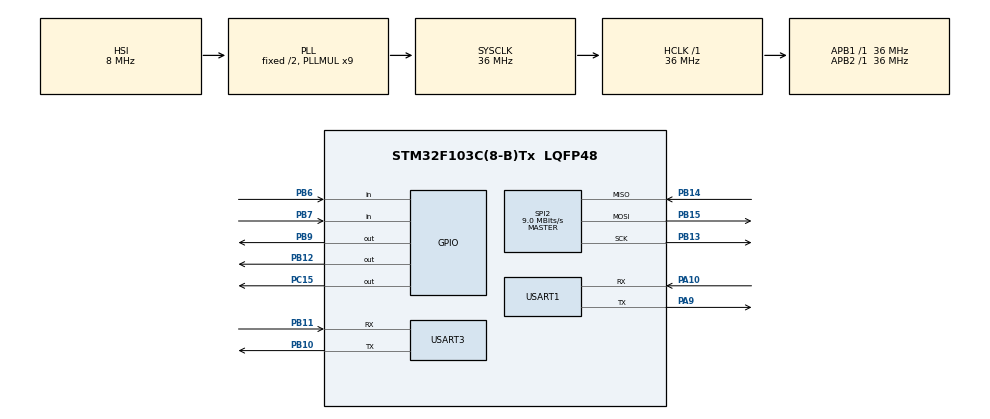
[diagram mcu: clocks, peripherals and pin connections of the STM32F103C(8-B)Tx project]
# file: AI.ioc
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Mcu.Family=STM32F1
Mcu.Name=STM32F103C(8-B)Tx
Mcu.Package=LQFP48
NVIC.PriorityGroup=NVIC_PRIORITYGROUP_4
NVIC.RCC_IRQn=true\:0\:0\:false\:false\:true\:true\:false\:true
NVIC.USART1_IRQn=true\:0\:0\:false\:false\:true\:true\:true\:true
NVIC.USART3_IRQn=true\:0\:0\:false\:false\:true\:true\:true\:true
PA10.Mode=Asynchronous
PA10.Signal=USART1_RX
PA13.Mode=Serial_Wire
PA13.Signal=SYS_JTMS-SWDIO
PA14.Mode=Serial_Wire
PA14.Signal=SYS_JTCK-SWCLK
PA9.Mode=Asynchronous
PA9.Signal=USART1_TX
PB10.Mode=Asynchronous
PB10.Signal=USART3_TX
PB11.Mode=Asynchronous
PB11.Signal=USART3_RX
PB12.Signal=GPIO_Output
PB13.Mode=Full_Duplex_Master
PB13.Signal=SPI2_SCK
PB14.Mode=Full_Duplex_Master
PB14.Signal=SPI2_MISO
PB15.Mode=Full_Duplex_Master
PB15.Signal=SPI2_MOSI
PB6.Signal=GPIO_Input
PB7.Signal=GPIO_Input
PB9.Signal=GPIO_Output
PC15-OSC32_OUT.Signal=GPIO_Output
PD0-OSC_IN.Mode=HSE-External-Oscillator
PD0-OSC_IN.Signal=RCC_OSC_IN
PD1-OSC_OUT.Mode=HSE-External-Oscillator
PD1-OSC_OUT.Signal=RCC_OSC_OUT
ProjectManager.HeapSize=0x200
ProjectManager.StackSize=0x400
ProjectManager.TargetToolchain=STM32CubeIDE
RCC.AHBFreq_Value=36000000
RCC.APB1Freq_Value=36000000
RCC.APB1TimFreq_Value=36000000
RCC.APB2Freq_Value=36000000
RCC.APB2TimFreq_Value=36000000
RCC.HCLKFreq_Value=36000000
RCC.PLLMUL=RCC_PLL_MUL9
RCC.SYSCLKFreq_VALUE=36000000
RCC.SYSCLKSource=RCC_SYSCLKSOURCE_PLLCLK
RCC.USBFreq_Value=36000000
SPI2.BaudRatePrescaler=SPI_BAUDRATEPRESCALER_4
SPI2.CalculateBaudRate=9.0 MBits/s
SPI2.Direction=SPI_DIRECTION_2LINES
SPI2.Mode=SPI_MODE_MASTER
SPI2.VirtualType=VM_MASTER
USART1.VirtualMode=VM_ASYNC
USART3.VirtualMode=VM_ASYNC
board=custom

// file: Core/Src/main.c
/* USER CODE BEGIN Header */
/**
  ******************************************************************************
  * @file           : main.c
  * @brief          : Main program body
  ******************************************************************************
  * @attention
  *
  * Copyright (c) 2025 STMicroelectronics.
  * All rights reserved.
  *
  * This software is licensed under terms that can be found in the LICENSE file
  * in the root directory of this software component.
  * If no LICENSE file comes with this software, it is provided AS-IS.
  *
  ******************************************************************************
  */
/* USER CODE END Header */
#include "main.h"
#include "ADS1247.h"
#include "modbus485.h"
#include"string.h"
#include "dipswitch.h"
#include <stdbool.h>
#include<HC595.h>
#include<storage.h>
/* USER CODE BEGIN Includes */

uint8_t RxData[UART_RX_BUF_SIZE];
uint8_t *ptr;
uint8_t slave_id=0x01;
uint32_t selectedBaudRate=9600;
uint8_t uart_rx_byte;
static uint16_t rxcount=0;
uint8_t adc_conversion_mode[8]={4,4,4,4,4,4,4,4};//8 channal with default value
static int cmd_cnt=0;

uint8_t data[UART_RX_BUF_SIZE];
uint32_t indx=0;
uint16_t crc;
eMode_t conversion_mode,conversion_mode1=0;

float supply[8];

const MapEntry configMap[] = {
	{0,MV0_50},
    {1, MV0_100},
	{2, MV0_250},
    {3, V0_5},
    {4, V0_10},
    {5,MA4_20},
	{6,MA0_20},
};

int32_t Holding_Registers_Database[100]={0};
RingBuffer_t uart_rx_rb = { .head = 0, .tail = 0 };

flash_t W_flash={.channalmode={4,4,4,4,4,4,4,4},
		.BaudRate=9600,
		.SlaveID=0x01,
};

flash_t R_flash={.channalmode={4,4,4,4,4,4,4,4},
		.BaudRate=9600,
		.SlaveID=0x01,
};

/* USER CODE END Includes */

SPI_HandleTypeDef hspi2;

UART_HandleTypeDef huart1;
UART_HandleTypeDef huart3;

void SystemClock_Config(void);
static void MX_GPIO_Init(void);
static void MX_SPI2_Init(void);
static void MX_USART1_UART_Init(void);
static void MX_USART3_UART_Init(void);
/* USER CODE BEGIN PFP */
void PollUartBaudRate(void)
{
	uint8_t gpioVal = (HAL_GPIO_ReadPin(GPIOB, GPIO_PIN_6) << 1) |
	HAL_GPIO_ReadPin(GPIOB, GPIO_PIN_7);
	static uint32_t prevBaudRate=115200;

	switch (gpioVal)
	{
		case BAUD_9600: selectedBaudRate = 9600; break;
		case BAUD_19200: selectedBaudRate = 19200; break;
		case BAUD_38400: selectedBaudRate = 38400; break;
		default: selectedBaudRate = 9600; break;
	}

	// Change baud only if different from previous
	if (selectedBaudRate != prevBaudRate)
	{
		prevBaudRate = selectedBaudRate;

		/* -------- UART3 -------- */
		HAL_UART_AbortReceive(&huart3);
		HAL_Delay(2);
		HAL_UART_DeInit(&huart3);
		huart3.Init.BaudRate = selectedBaudRate;
		HAL_UART_Init(&huart3);
		HAL_UART_Receive_IT(&huart3, &uart_rx_byte, 1);

		/* -------- UART1 -------- */
		HAL_UART_AbortReceive(&huart1);
		HAL_Delay(2);
		HAL_UART_DeInit(&huart1);
		huart1.Init.BaudRate = selectedBaudRate;
		HAL_UART_Init(&huart1);
		//HAL_UART_Receive_IT(&huart1, RxData2, sizeof(RxData2));

	}
}

/* USER CODE END PFP */

eMode_t check_and_get_adc_conversion_mode(uint8_t *conversion_mode,P_AIN channal){

	for(int i=0;i<sizeof(configMap)/sizeof(MapEntry);i++){
				if(configMap[i].regValue==conversion_mode[channal])
					return configMap[i].config;// set channal on the basis of conversion_mode value

		}
		return configMap[channal].config;//default setting if conversion_mode is mismatch with regValue
}

void HAL_UART_RxCpltCallback(UART_HandleTypeDef *huart)
{
    uint16_t next = (uart_rx_rb.head + 1) % UART_RX_BUF_SIZE;

    if (next != uart_rx_rb.tail) {   // buffer not full
        uart_rx_rb.buffer[uart_rx_rb.head] = uart_rx_byte;
        uart_rx_rb.head = next;
    }

    // Restart interrupt
    HAL_UART_Receive_IT(huart, &uart_rx_byte, 1);
}

uint16_t RingBuffer_GetCount(RingBuffer_t *rb)
{
    if (rb->head >= rb->tail)
        return rb->head - rb->tail;
    else
        return UART_RX_BUF_SIZE - rb->tail + rb->head;
}

int RingBuffer_Read(RingBuffer_t* rb, uint8_t* out)
{
    if (rb->head == rb->tail) return 0;

    *out = rb->buffer[rb->tail];
    rb->tail = (rb->tail + 1) % UART_RX_BUF_SIZE;
    return 1;
}
uint8_t reglen;
uint8_t tx_[MIN_CMD_LEN];
static uint16_t len = 0;
bool read_multi_reg(){

	    // Minimum required bytes
	    if(len < MIN_CMD_LEN)
	        return false;

	    // Extract CRC from last two bytes
	    uint16_t crc_recv = (RxData[len-1]<<8)|RxData[len-2];
	    uint16_t crc_calc = crc16(RxData, len - 2);
	    reglen=len;
	    // Validate Modbus frame
	    if(RxData[0] != slave_id)    return false;
	    if(RxData[1] != MB_WRITE_FC) return false;
	    if(crc_recv != crc_calc)     return false;

	    uint8_t byte_count = RxData[6];

	    if(len < (7 + byte_count + 2))
	        return false;  // incomplete frame

	    memset(tx_,0,sizeof(tx_));
		for(uint8_t i=0;i<len-2;i++){
			tx_[i]=RxData[i];
		}

		sendData(tx_,len-2);
	    // Copy data values
	    uint8_t ind = 0;
	    for(uint8_t i = 0; i < byte_count; i += 2)
	    {
	        adc_conversion_mode[ind++] = RxData[8 + i];
	    }
	//
	    return true;

}

bool read_single_reg(){

	    // Minimum required bytes
	    if(len < 8)
	        return false;

	    // Extract CRC from last two bytes
	    uint16_t crc_recv = (RxData[len-1]<<8)|RxData[len-2];
	    uint16_t crc_calc = crc16(RxData, len - 2);

	    // Validate Modbus frame
	    if(RxData[0] != slave_id)    return false;
	    if(RxData[1] != 0x06) return false;//function code
	    if(crc_recv != crc_calc)     return false;

	    uint8_t tx[8]={0};

	    tx[0]=RxData[0];
	    tx[1]=RxData[1];
	    tx[2]=RxData[2];
	    tx[3]=RxData[3];
	    tx[4]=RxData[4];
	    tx[5]=RxData[5];

	    sendData(tx,6);
	    if(RxData[3]>20&&RxData[3]<=28)
	    	adc_conversion_mode[RxData[3]-21] = RxData[5];

	    return true;
}

bool get_adc_conversion_value(uint8_t *adc_conversion_mode){
	bool status;

	len=0;
	rxcount = RingBuffer_GetCount(&uart_rx_rb);
	if(rxcount == 0)
		return false;  // no data yet

	if(rxcount > UART_RX_BUF_SIZE)
		rxcount = UART_RX_BUF_SIZE; // prevent overflow

	 while((rxcount=RingBuffer_GetCount(&uart_rx_rb))){
		 RingBuffer_Read(&uart_rx_rb, &RxData[len++]);
		 HAL_Delay(1);
	 }

	read_single_reg()?(status =true ):(status =false);
	//read_multi_reg()?(status= true) :(status= false);

    return status;
}
uint16_t enbit=0;
void set_adc_conversion_mode(uint8_t *conversion_mode){

for(uint8_t channal=0;channal<8;channal++){
	for(int i=0;i<sizeof(configMap)/sizeof(MapEntry);i++){
				if(configMap[i].regValue==conversion_mode[channal]){
					switch(configMap[i].config){
						case V0_5:
							 enbit |=(1<<channal);//i is bit position set i position bit
							break;
						case V0_10 :
							enbit |=(1<<channal);
							break;

						case MV0_50:
							enbit &=~(1<<channal);//clear i position bit
							break;
						case MV0_100:
							enbit &=~(1<<channal);
							break;
						case MV0_250 :
							enbit &=~(1<<channal);
							break;
						case MA0_20:
							enbit &=~(1<<channal);
							break;
						case MA4_20 :
							enbit &=~(1<<channal);
							break;

					}

				}
//				else{
//					enbit |=(1<<channal);//conversion mode is out of the range set it to default mode V0_10
//				}

		}
}
//input_high(enbit);
}

int main(void)
{

  /* USER CODE BEGIN 1 */
	static uint8_t buf_A=0;

	int32_t raw=0;

  /* USER CODE END 1 */

  /* MCU Configuration--------------------------------------------------------*/

  /* Reset of all peripherals, Initializes the Flash interface and the Systick. */
  HAL_Init();

  SystemClock_Config();
  MX_GPIO_Init();
  MX_SPI2_Init();
  MX_USART1_UART_Init();
  MX_USART3_UART_Init();

  RST_HIGH_B();
  csHIGH_B();
  enable_MCPA_B();
  port_configA_B();
  latch_configA_B();
  enable_MCPB_B();
  port_configB_B();
  polarity_configB_B();
  latch_configB_B();

	while(1){
		 uint8_t len=0;

		 GPIO_readA_B();

		 slave_id = 1;//buf_A;

		 W_flash.SlaveID=slave_id;
//		 if(W_flash.SlaveID!=R_flash.SlaveID){
//
//			 Flash_WriteSettings(&W_flash);
//
//		 }

//		 slave_id=R_flash.SlaveID;

		 PollUartBaudRate();//configure baudrate for mb
		 if(true==get_adc_conversion_value(adc_conversion_mode));
		 memcpy(W_flash.channalmode,adc_conversion_mode,8);

/*save channal configuration in flash*/

		 //Flash_ReadSettings(&R_flash);

		 if(memcmp(W_flash.channalmode,R_flash.channalmode,8)!=0/*||get_is_configured()==0*/){

			 Flash_WriteSettings(&W_flash);
			 //clear_is_configured();

		 }

		 Flash_ReadSettings(&R_flash);
		 memcpy(adc_conversion_mode,R_flash.channalmode,8);

/****************************************/
		 conversion_mode1=0;

	     set_adc_conversion_mode(adc_conversion_mode);

		 conversion_mode1=check_and_get_adc_conversion_mode(adc_conversion_mode,channal_0);//check channal configuration mode value and get conversion mode

		 double voltageReading=ads1247_raw_to_voltage(8388608, 2.5, 1);
		 supply[channal_0]=get_supply(voltageReading,conversion_mode1);
		 conversion_mode=0;
		 conversion_mode=check_and_get_adc_conversion_mode(adc_conversion_mode,channal_1);//check channal configuration mode value and get conversion mode
		 //raw=ADS1247_ReadData(P_AIN1);
		 voltageReading=ads1247_raw_to_voltage(8388608, 2.5, 1);
		 supply[channal_1]=get_supply(voltageReading,conversion_mode);
		 conversion_mode=0;
		 conversion_mode=check_and_get_adc_conversion_mode(adc_conversion_mode,channal_2);//check channal configuration mode value and get conversion mode
		 //raw=ADS1247_ReadData(P_AIN2);
		  voltageReading=ads1247_raw_to_voltage(8388608, 2.5, 1);
		 supply[channal_2]=get_supply(voltageReading,conversion_mode);

		 conversion_mode=0;
		 conversion_mode=check_and_get_adc_conversion_mode(adc_conversion_mode,channal_3);//check channal configuration mode value and get conversion mode
//		 raw=ADS1247_ReadData(P_AIN3);
		  voltageReading=ads1247_raw_to_voltage(8388608, 2.5, 1);
		 supply[channal_3]=get_supply(voltageReading,conversion_mode);

		 conversion_mode=0;
		 conversion_mode=check_and_get_adc_conversion_mode(adc_conversion_mode,channal_4);//check channal configuration mode value and get conversion mode
//		 raw=ADS1247_ReadData(P_AIN4);
		 voltageReading=ads1247_raw_to_voltage(8388608, 2.5, 1);
		 supply[channal_4]=get_supply(voltageReading,conversion_mode);

		 conversion_mode=0;
		 conversion_mode=check_and_get_adc_conversion_mode(adc_conversion_mode,channal_5);//check channal configuration mode value and get conversion mode
//		 raw=ADS1247_ReadData(P_AIN5);
		 voltageReading=ads1247_raw_to_voltage(8388608, 2.5, 1);
		 supply[channal_5]=get_supply(voltageReading,conversion_mode);

		 conversion_mode=0;
		 conversion_mode=check_and_get_adc_conversion_mode(adc_conversion_mode,channal_6);//check channal configuration mode value and get conversion mode
//		 raw=ADS1247_ReadData(P_AIN6);
		 voltageReading=ads1247_raw_to_voltage(8388608, 2.5, 1);
		 supply[channal_6]=get_supply(voltageReading,conversion_mode);

		 conversion_mode=0;
		 conversion_mode=check_and_get_adc_conversion_mode(adc_conversion_mode,channal_7);//check channal configuration mode value and get conversion mode
//		 raw=ADS1247_ReadData(P_AIN7);
		 voltageReading=ads1247_raw_to_voltage(8388608, 2.5, 1);
		 supply[channal_7]=get_supply(voltageReading,conversion_mode);

		 crc=(RxData[CRC_HIGH]<<8)|RxData[CRC_LOW];
		 if((RxData[0]==slave_id)&&(crc==crc16(RxData, CMD_LEN))){

			 memcpy(&Holding_Registers_Database[channal_0],&supply[channal_0],4);
			 memcpy(&Holding_Registers_Database[channal_1],&supply[channal_1],4);
			 memcpy(&Holding_Registers_Database[channal_2],&supply[channal_2],4);
			 memcpy(&Holding_Registers_Database[channal_3],&supply[channal_3],4);
			 memcpy(&Holding_Registers_Database[channal_4],&supply[channal_4],4);
			 memcpy(&Holding_Registers_Database[channal_5],&supply[channal_5],4);
			 memcpy(&Holding_Registers_Database[channal_6],&supply[channal_6],4);
			 memcpy(&Holding_Registers_Database[channal_7],&supply[channal_7],4);

			 writeHoldingRegs(UINT32_T);
			 cmd_cnt++;
			 memset(RxData,0,sizeof(RxData));
		}

		 HAL_Delay(20);
	}
	  /* USER CODE END 3 */
}

void SystemClock_Config(void)
{
  RCC_OscInitTypeDef RCC_OscInitStruct = {0};
  RCC_ClkInitTypeDef RCC_ClkInitStruct = {0};

  /** Initializes the RCC Oscillators according to the specified parameters
  * in the RCC_OscInitTypeDef structure.
  */
  RCC_OscInitStruct.OscillatorType = RCC_OSCILLATORTYPE_HSI;
  RCC_OscInitStruct.HSIState = RCC_HSI_ON;
  RCC_OscInitStruct.HSICalibrationValue = RCC_HSICALIBRATION_DEFAULT;
  RCC_OscInitStruct.PLL.PLLState = RCC_PLL_ON;
  RCC_OscInitStruct.PLL.PLLSource = RCC_PLLSOURCE_HSI_DIV2;
  RCC_OscInitStruct.PLL.PLLMUL = RCC_PLL_MUL9;
  if (HAL_RCC_OscConfig(&RCC_OscInitStruct) != HAL_OK)
  {
    Error_Handler();
  }

  /** Initializes the CPU, AHB and APB buses clocks
  */
  RCC_ClkInitStruct.ClockType = RCC_CLOCKTYPE_HCLK|RCC_CLOCKTYPE_SYSCLK
                              |RCC_CLOCKTYPE_PCLK1|RCC_CLOCKTYPE_PCLK2;
  RCC_ClkInitStruct.SYSCLKSource = RCC_SYSCLKSOURCE_PLLCLK;
  RCC_ClkInitStruct.AHBCLKDivider = RCC_SYSCLK_DIV1;
  RCC_ClkInitStruct.APB1CLKDivider = RCC_HCLK_DIV1;
  RCC_ClkInitStruct.APB2CLKDivider = RCC_HCLK_DIV1;

  if (HAL_RCC_ClockConfig(&RCC_ClkInitStruct, FLASH_LATENCY_1) != HAL_OK)
  {
    Error_Handler();
  }
}

static void MX_SPI2_Init(void)
{

  /* SPI2 parameter configuration*/
  hspi2.Instance = SPI2;
  hspi2.Init.Mode = SPI_MODE_MASTER;
  hspi2.Init.Direction = SPI_DIRECTION_2LINES;
  hspi2.Init.DataSize = SPI_DATASIZE_8BIT;
  hspi2.Init.CLKPolarity = SPI_POLARITY_LOW;
  hspi2.Init.CLKPhase = SPI_PHASE_1EDGE;
  hspi2.Init.NSS = SPI_NSS_SOFT;
  hspi2.Init.BaudRatePrescaler = SPI_BAUDRATEPRESCALER_4;
  hspi2.Init.FirstBit = SPI_FIRSTBIT_MSB;
  hspi2.Init.TIMode = SPI_TIMODE_DISABLE;
  hspi2.Init.CRCCalculation = SPI_CRCCALCULATION_DISABLE;
  hspi2.Init.CRCPolynomial = 10;
  if (HAL_SPI_Init(&hspi2) != HAL_OK)
  {
    Error_Handler();
  }

}

static void MX_USART1_UART_Init(void)
{

  huart1.Instance = USART1;
  huart1.Init.BaudRate = 115200;
  huart1.Init.WordLength = UART_WORDLENGTH_8B;
  huart1.Init.StopBits = UART_STOPBITS_1;
  huart1.Init.Parity = UART_PARITY_NONE;
  huart1.Init.Mode = UART_MODE_TX_RX;
  huart1.Init.HwFlowCtl = UART_HWCONTROL_NONE;
  huart1.Init.OverSampling = UART_OVERSAMPLING_16;
  if (HAL_UART_Init(&huart1) != HAL_OK)
  {
    Error_Handler();
  }

}

static void MX_USART3_UART_Init(void)
{

  huart3.Instance = USART3;
  huart3.Init.BaudRate = 115200;
  huart3.Init.WordLength = UART_WORDLENGTH_8B;
  huart3.Init.StopBits = UART_STOPBITS_1;
  huart3.Init.Parity = UART_PARITY_NONE;
  huart3.Init.Mode = UART_MODE_TX_RX;
  huart3.Init.HwFlowCtl = UART_HWCONTROL_NONE;
  huart3.Init.OverSampling = UART_OVERSAMPLING_16;
  if (HAL_UART_Init(&huart3) != HAL_OK)
  {
    Error_Handler();
  }

}

static void MX_GPIO_Init(void)
{
  GPIO_InitTypeDef GPIO_InitStruct = {0};

  /* GPIO Ports Clock Enable */
  __HAL_RCC_GPIOC_CLK_ENABLE();
  __HAL_RCC_GPIOD_CLK_ENABLE();
  __HAL_RCC_GPIOB_CLK_ENABLE();
  __HAL_RCC_GPIOA_CLK_ENABLE();

  /*Configure GPIO pin Output Level */
  HAL_GPIO_WritePin(GPIOC, GPIO_PIN_15, GPIO_PIN_RESET);

  /*Configure GPIO pin Output Level */
  HAL_GPIO_WritePin(GPIOB, GPIO_PIN_12|GPIO_PIN_9, GPIO_PIN_RESET);

  /*Configure GPIO pin : PC15 */
  GPIO_InitStruct.Pin = GPIO_PIN_15;
  GPIO_InitStruct.Mode = GPIO_MODE_OUTPUT_PP;
  GPIO_InitStruct.Pull = GPIO_NOPULL;
  GPIO_InitStruct.Speed = GPIO_SPEED_FREQ_LOW;
  HAL_GPIO_Init(GPIOC, &GPIO_InitStruct);

  /*Configure GPIO pins : PB12 PB9 */
  GPIO_InitStruct.Pin = GPIO_PIN_12|GPIO_PIN_9;
  GPIO_InitStruct.Mode = GPIO_MODE_OUTPUT_PP;
  GPIO_InitStruct.Pull = GPIO_NOPULL;
  GPIO_InitStruct.Speed = GPIO_SPEED_FREQ_LOW;
  HAL_GPIO_Init(GPIOB, &GPIO_InitStruct);

  /*Configure GPIO pins : PB6 PB7 */
  GPIO_InitStruct.Pin = GPIO_PIN_6|GPIO_PIN_7;
  GPIO_InitStruct.Mode = GPIO_MODE_INPUT;
  GPIO_InitStruct.Pull = GPIO_NOPULL;
  HAL_GPIO_Init(GPIOB, &GPIO_InitStruct);

}

void Error_Handler(void)
{
  __disable_irq();
  while (1)
  {
  }
}
